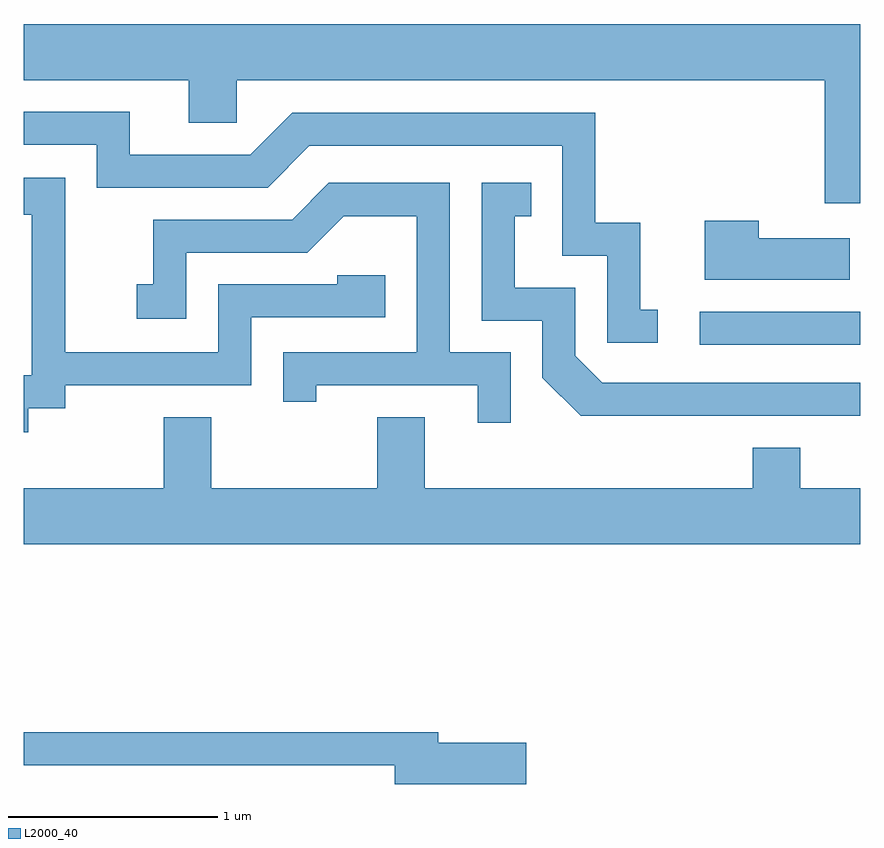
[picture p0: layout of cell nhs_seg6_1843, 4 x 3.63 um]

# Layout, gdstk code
import gdstk
lib = gdstk.Library(unit=1e-6, precision=1e-09)
def R(c, l, rs):  # rectangles x0, y0, x1, y1
    for r in rs: c.add(gdstk.rectangle(r[:2], r[2:], *l))
def P(c, l, *ps):  # polygons
    for p in ps: c.add(gdstk.Polygon(p, *l))
L2000_40 = (2000, 40)

nhs_seg6_1843 = lib.new_cell('nhs_seg6_1843')
R(nhs_seg6_1843, L2000_40, [(244.843,1564.311,245.611,1564.469)])
P(nhs_seg6_1843, L2000_40, [(245.611,1565.844),(241.611,1565.844),(241.611,1565.576),(242.401,1565.576),(242.401,1565.371),(242.629,1565.371),(242.629,1565.576),(245.441,1565.576),(245.441,1564.986),(245.611,1564.986)],
  [(244.643,1564.479),(244.559,1564.479),(244.559,1564.894),(244.344,1564.894),(244.344,1565.419),(242.894,1565.419),(242.694,1565.219),(242.119,1565.219),(242.119,1565.424),(241.611,1565.424),(241.611,1565.266),(241.961,1565.266),(241.961,1565.061),(242.777,1565.061),(242.977,1565.261),(244.186,1565.261),(244.186,1564.736),(244.401,1564.736),(244.401,1564.321),(244.643,1564.321)],
  [(241.634,1564.006),(241.809,1564.006),(241.809,1564.116),(242.699,1564.116),(242.699,1564.441),(243.339,1564.441),(243.339,1564.644),(243.111,1564.644),(243.111,1564.599),(242.541,1564.599),(242.541,1564.274),(241.809,1564.274),(241.809,1565.109),(241.611,1565.109),(241.611,1564.931),(241.651,1564.931),(241.651,1564.164),(241.611,1564.164),(241.611,1563.893),(241.634,1563.893)],
  [(245.611,1564.129),(244.377,1564.129),(244.249,1564.257),(244.249,1564.584),(243.959,1564.584),(243.959,1564.926),(244.038,1564.926),(244.038,1565.084),(243.801,1565.084),(243.801,1564.426),(244.091,1564.426),(244.091,1564.154),(244.274,1563.971),(245.611,1563.971)],
  [(243.939,1564.274),(243.649,1564.274),(243.649,1565.084),(243.069,1565.084),(242.894,1564.909),(242.231,1564.909),(242.231,1564.599),(242.153,1564.599),(242.153,1564.436),(242.389,1564.436),(242.389,1564.751),(242.967,1564.751),(243.142,1564.926),(243.491,1564.926),(243.491,1564.274),(242.851,1564.274),(242.851,1564.038),(243.009,1564.038),(243.009,1564.116),(243.781,1564.116),(243.781,1563.938),(243.939,1563.938)],
  [(245.559,1564.819),(245.124,1564.819),(245.124,1564.904),(244.866,1564.904),(244.866,1564.621),(245.559,1564.621)],
  [(245.611,1563.624),(245.324,1563.624),(245.324,1563.819),(245.096,1563.819),(245.096,1563.624),(243.529,1563.624),(243.529,1563.964),(243.301,1563.964),(243.301,1563.624),(242.509,1563.624),(242.509,1563.964),(242.281,1563.964),(242.281,1563.624),(241.611,1563.624),(241.611,1563.356),(245.611,1563.356)],
  [(244.014,1562.409),(243.594,1562.409),(243.594,1562.459),(241.611,1562.459),(241.611,1562.301),(243.386,1562.301),(243.386,1562.211),(244.014,1562.211)])

lib.write_gds('nhs_seg6_1843.gds')
